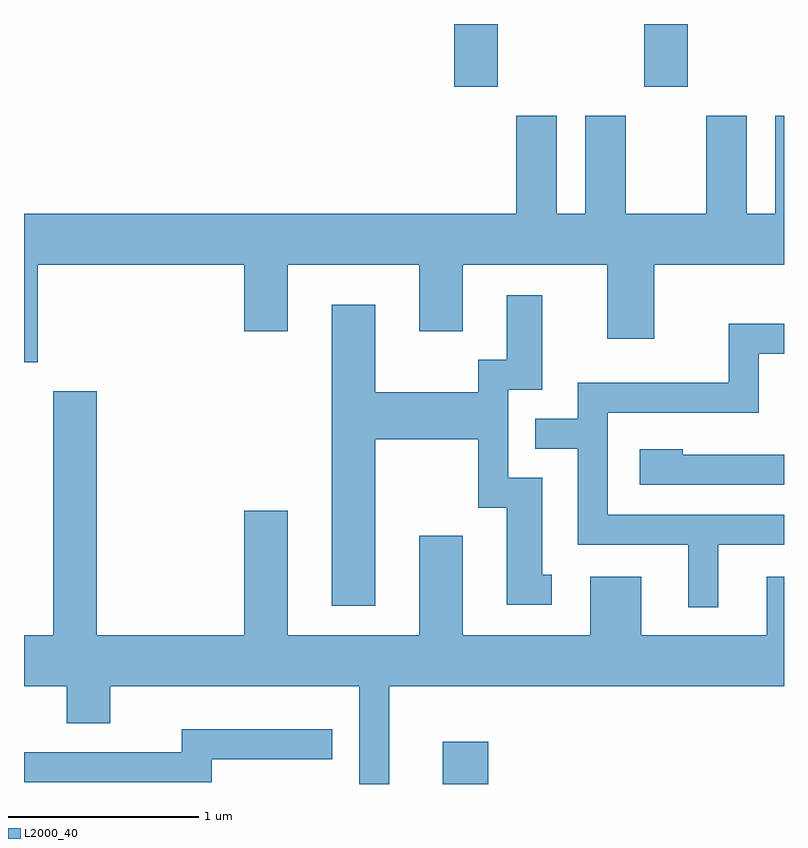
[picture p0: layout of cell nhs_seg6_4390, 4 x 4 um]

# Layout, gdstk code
import gdstk
lib = gdstk.Library(unit=1e-6, precision=1e-09)
def R(c, l, rs):  # rectangles x0, y0, x1, y1
    for r in rs: c.add(gdstk.rectangle(r[:2], r[2:], *l))
def P(c, l, *ps):  # polygons
    for p in ps: c.add(gdstk.Polygon(p, *l))
L2000_40 = (2000, 40)

nhs_seg6_4390 = lib.new_cell('nhs_seg6_4390')
R(nhs_seg6_4390, L2000_40, [(321.816,1576.162,322.054,1576.384), (321.876,1579.831,322.104,1580.162), (322.876,1579.831,323.104,1580.162)])
P(nhs_seg6_4390, L2000_40, [(319.684,1578.896),(320.771,1578.896),(320.771,1578.546),(320.999,1578.546),(320.999,1578.896),(321.691,1578.896),(321.691,1578.546),(321.919,1578.546),(321.919,1578.896),(322.681,1578.896),(322.681,1578.506),(322.929,1578.506),(322.929,1578.896),(323.611,1578.896),(323.611,1579.679),(323.566,1579.679),(323.566,1579.164),(323.414,1579.164),(323.414,1579.679),(323.201,1579.679),(323.201,1579.164),(322.779,1579.164),(322.779,1579.679),(322.566,1579.679),(322.566,1579.164),(322.414,1579.164),(322.414,1579.679),(322.201,1579.679),(322.201,1579.164),(319.611,1579.164),(319.611,1578.381),(319.684,1578.381)],
  [(321.459,1577.976),(322.001,1577.976),(322.001,1577.616),(322.151,1577.616),(322.151,1577.106),(322.388,1577.106),(322.388,1577.264),(322.339,1577.264),(322.339,1577.774),(322.159,1577.774),(322.159,1578.236),(322.339,1578.236),(322.339,1578.734),(322.151,1578.734),(322.151,1578.394),(322.001,1578.394),(322.001,1578.224),(321.459,1578.224),(321.459,1578.684),(321.231,1578.684),(321.231,1577.101),(321.459,1577.101)],
  [(323.264,1577.421),(323.611,1577.421),(323.611,1577.579),(322.684,1577.579),(322.684,1578.116),(323.479,1578.116),(323.479,1578.426),(323.611,1578.426),(323.611,1578.584),(323.321,1578.584),(323.321,1578.274),(322.526,1578.274),(322.526,1578.084),(322.303,1578.084),(322.303,1577.926),(322.526,1577.926),(322.526,1577.421),(323.106,1577.421),(323.106,1577.093),(323.264,1577.093)],
  [(321.534,1576.676),(323.611,1576.676),(323.611,1577.254),(323.521,1577.254),(323.521,1576.944),(322.859,1576.944),(322.859,1577.254),(322.591,1577.254),(322.591,1576.944),(321.919,1576.944),(321.919,1577.469),(321.691,1577.469),(321.691,1576.944),(320.999,1576.944),(320.999,1577.599),(320.771,1577.599),(320.771,1576.944),(319.994,1576.944),(319.994,1578.229),(319.766,1578.229),(319.766,1576.944),(319.611,1576.944),(319.611,1576.676),(319.836,1576.676),(319.836,1576.481),(320.064,1576.481),(320.064,1576.676),(321.376,1576.676),(321.376,1576.162),(321.534,1576.162)],
  [(323.611,1577.894),(323.079,1577.894),(323.079,1577.924),(322.851,1577.924),(322.851,1577.736),(323.611,1577.736)],
  [(320.599,1576.291),(321.233,1576.291),(321.233,1576.449),(320.441,1576.449),(320.441,1576.329),(319.611,1576.329),(319.611,1576.171),(320.599,1576.171)])

lib.write_gds('nhs_seg6_4390.gds')
